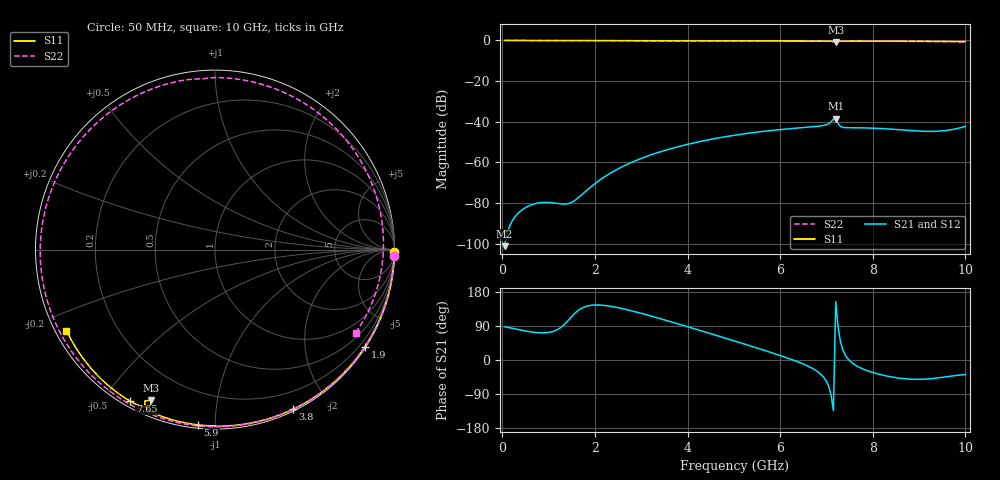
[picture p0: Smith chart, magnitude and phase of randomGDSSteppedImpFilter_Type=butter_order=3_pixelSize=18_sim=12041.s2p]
! freq	dB(S11)	phase(S11)	dB(S12)	phase(S12)
!  dB(S21)	phase(S21)	dB(S22)	phase(S22)
!S-par simulation data
#  GHz  S  DB  R 50
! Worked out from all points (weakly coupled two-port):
!   200 points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, 50 MHz to 10 GHz, reference 50 ohm
!   highest |S21| = -38.54 dB at 7.2 GHz (marker M1); lowest = -101.2 dB at 50 MHz (marker M2)
!   lowest |S11| = -0.8 dB at 7.2 GHz (marker M3), VSWR 21.16, Z = 3.39 - j33 ohm
!   |S11| at or under -10 dB: nowhere
!   |S22| runs from -0.8 to 0.0 dB; largest |S21 - S12| = 0
!   S11 on the Smith chart (normalised r, x): 50 MHz: open; 1.9 GHz: 0.03, -3.39; 3.8 GHz: 0.02, -1.60; 5.9 GHz: 0.02, -0.91; 7.65 GHz: 0.02, -0.59; 10 GHz: 0.03, -0.25
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0.05  -0.00 -0.9  -101.17 87.7  -101.17 87.7  -0.01 -2.1
0.7  -0.01 -12.3  -80.35 73.0  -80.35 73.0  -0.03 -29.1
1.45  -0.03 -25.2  -80.05 108.0  -80.05 108.0  -0.07 -59.3
1.75  -0.04 -30.3  -75.18 138.7  -75.18 138.7  -0.09 -70.9
1.9  -0.04 -32.9  -72.23 144.1  -72.23 144.1  -0.10 -76.6
2.55  -0.06 -43.7  -62.56 136.8  -62.56 136.8  -0.12 -100.7
3.4  -0.08 -57.6  -54.84 109.4  -54.84 109.4  -0.16 -130.7
3.8  -0.09 -63.9  -52.23 95.2  -52.23 95.2  -0.18 -144.5
4.45  -0.11 -74.0  -48.87 71.3  -48.87 71.3  -0.21 -166.5
5.05  -0.13 -83.1  -46.49 48.9  -46.49 48.9  -0.24 172.9
5.9  -0.17 -95.5  -44.06 15.9  -44.06 15.9  -0.29 143.0
6.7  -0.21 -107.1  -42.50 -22.4  -42.50 -22.4  -0.34 113.2
7  -0.27 -111.9  -41.40 -56.5  -41.40 -56.5  -0.36 101.5
7.15  -0.62 -114.9  -38.61 -133.7  -38.61 -133.7  -0.40 95.6
7.2  -0.82 -113.1  -38.54 154.0  -38.54 154.0  -0.41 93.8
7.3  -0.38 -113.4  -42.23 49.6  -42.23 49.6  -0.37 89.9
7.65  -0.29 -119.3  -42.94 -15.5  -42.94 -15.5  -0.38 75.6
8.35  -0.34 -129.0  -43.54 -43.5  -43.54 -43.5  -0.41 46.2
8.8  -0.38 -135.1  -44.27 -50.5  -44.27 -50.5  -0.45 26.6
9.25  -0.43 -141.2  -44.72 -49.5  -44.72 -49.5  -0.52 6.4
9.65  -0.47 -146.6  -44.06 -43.2  -44.06 -43.2  -0.64 -12.6
10  -0.52 -151.4  -42.28 -38.6  -42.28 -38.6  -0.82 -30.6
